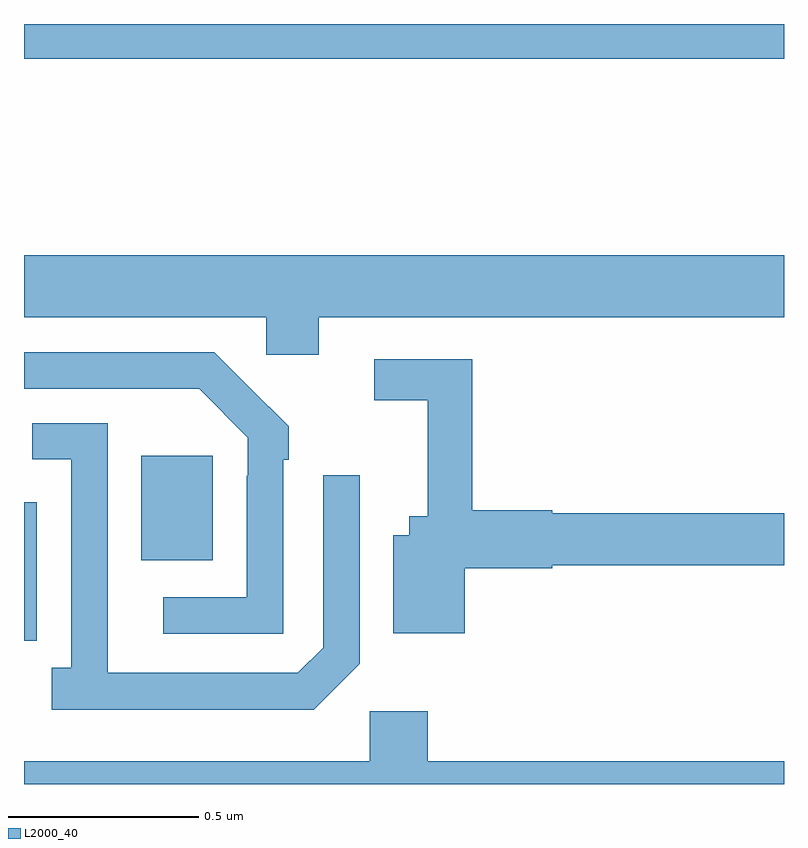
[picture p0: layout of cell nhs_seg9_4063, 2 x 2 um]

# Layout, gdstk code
import gdstk
lib = gdstk.Library(unit=1e-6, precision=1e-09)
def R(c, l, rs):  # rectangles x0, y0, x1, y1
    for r in rs: c.add(gdstk.rectangle(r[:2], r[2:], *l))
def P(c, l, *ps):  # polygons
    for p in ps: c.add(gdstk.Polygon(p, *l))
L2000_40 = (2000, 40)

nhs_seg9_4063 = lib.new_cell('nhs_seg9_4063')
R(nhs_seg9_4063, L2000_40, [(161.309,1221.089,161.497,1221.364), (161,1222.408,163,1222.5)])
P(nhs_seg9_4063, L2000_40, [(161.776,1221.728),(163,1221.728),(163,1221.892),(161,1221.892),(161,1221.728),(161.637,1221.728),(161.637,1221.63),(161.776,1221.63)],
  [(161.682,1221.353),(161.697,1221.353),(161.697,1221.441),(161.592,1221.546),(161.591,1221.545),(161.5,1221.636),(161,1221.636),(161,1221.54),(161.461,1221.54),(161.589,1221.411),(161.589,1221.311),(161.586,1221.311),(161.586,1220.991),(161.367,1220.991),(161.367,1220.895),(161.682,1220.895)],
  [(162.16,1221.068),(162.39,1221.068),(162.39,1221.076),(163,1221.076),(163,1221.212),(162.39,1221.212),(162.39,1221.22),(162.179,1221.22),(162.179,1221.618),(161.922,1221.618),(161.922,1221.51),(162.062,1221.51),(162.062,1221.205),(162.014,1221.205),(162.014,1221.154),(161.972,1221.154),(161.972,1220.897),(162.16,1220.897)],
  [(161.883,1220.817),(161.883,1221.313),(161.787,1221.313),(161.787,1220.859),(161.721,1220.793),(161.221,1220.793),(161.221,1220.993),(161.22,1220.993),(161.22,1221.45),(161.022,1221.45),(161.022,1221.354),(161.124,1221.354),(161.124,1220.806),(161.073,1220.806),(161.073,1220.696),(161.762,1220.696)],
  [(161.033,1220.986),(161.034,1220.986),(161.034,1221.241),(161,1221.241),(161,1220.877),(161.033,1220.877)],
  [(163,1220.56),(162.062,1220.56),(162.062,1220.692),(161.91,1220.692),(161.91,1220.56),(161,1220.56),(161,1220.5),(163,1220.5)])

lib.write_gds('nhs_seg9_4063.gds')
